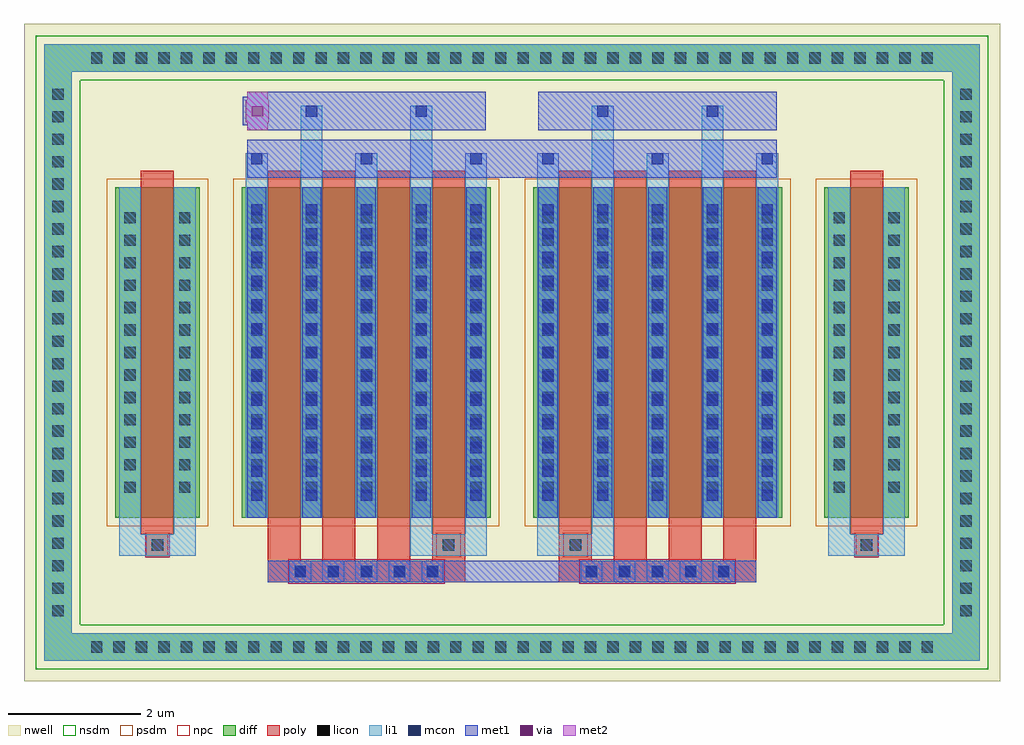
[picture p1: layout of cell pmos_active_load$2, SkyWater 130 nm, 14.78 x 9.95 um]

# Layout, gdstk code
import gdstk
lib = gdstk.Library(unit=1e-6, precision=5e-09)
def R(c, l, rs):  # rectangles x0, y0, x1, y1
    for r in rs: c.add(gdstk.rectangle(r[:2], r[2:], *l))
def A(c, l, x, y, w, h, nx, ny, dx, dy):  # array of equal rectangles
    R(c, l, [(x+i*dx, y+j*dy, x+i*dx+w, y+j*dy+h) for i in range(nx) for j in range(ny)])
def P(c, l, *ps):  # polygons
    for p in ps: c.add(gdstk.Polygon(p, *l))
nwell = (64, 20)
diff = (65, 20)
poly = (66, 20)
licon = (66, 44)
li1 = (67, 20)
mcon = (67, 44)
met1 = (68, 20)
via = (68, 44)
met2 = (69, 20)
nsdm = (93, 44)
psdm = (94, 20)
npc = (95, 20)

multiplier_cfbeef05 = lib.new_cell('multiplier_cfbeef05')
R(multiplier_cfbeef05, diff, [(-3.805,-2.5,-2.525,2.5), (-1.885,-2.5,1.885,2.5), (2.525,-2.5,3.805,2.5)])
A(multiplier_cfbeef05, poly, -1.165, -3.48, 0.33, 0.33, 5, 1, 0.5, 0)
A(multiplier_cfbeef05, poly, -1.495, -3.15, 0.5, 0.4, 4, 1, 0.83, 0)
A(multiplier_cfbeef05, poly, -1.495, -2.75, 0.5, 5.5, 4, 1, 0.83, 0)
R(multiplier_cfbeef05, poly, [(-1.495,-3.48,1.495,-3.15), (-3.33,-3.08,-3,-2.75), (-3.33,-3.08,-3,-2.75), (3,-3.08,3.33,-2.75), (3,-3.08,3.33,-2.75), (-3.415,-2.75,-2.915,2.75), (2.915,-2.75,3.415,2.75)])
A(multiplier_cfbeef05, licon, -1.085, -3.4, 0.17, 0.17, 5, 1, 0.5, 0)
A(multiplier_cfbeef05, licon, -3.665, -2.125, 0.17, 0.17, 1, 13, 0, 0.34)
A(multiplier_cfbeef05, licon, -2.835, -2.125, 0.17, 0.17, 1, 13, 0, 0.34)
A(multiplier_cfbeef05, licon, -1.745, -2.125, 0.17, 0.17, 5, 13, 0.83, 0.34)
A(multiplier_cfbeef05, licon, 2.665, -2.125, 0.17, 0.17, 1, 13, 0, 0.34)
A(multiplier_cfbeef05, licon, 3.495, -2.125, 0.17, 0.17, 1, 13, 0, 0.34)
R(multiplier_cfbeef05, licon, [(-3.25,-3,-3.08,-2.83), (3.08,-3,3.25,-2.83)])
A(multiplier_cfbeef05, li1, -1.165, -3.48, 0.33, 0.33, 5, 1, 0.5, 0)
A(multiplier_cfbeef05, li1, -1.825, -2.5, 0.33, 5, 5, 1, 0.83, 0)
A(multiplier_cfbeef05, li1, -1.745, -2.245, 0.17, 0.17, 5, 13, 0.83, 0.36)
A(multiplier_cfbeef05, li1, -1.745, -2.245, 0.17, 4.49, 5, 1, 0.83, 0)
A(multiplier_cfbeef05, li1, -3.745, -2.205, 0.33, 0.33, 1, 13, 0, 0.34)
A(multiplier_cfbeef05, li1, -2.915, -2.205, 0.33, 0.33, 1, 13, 0, 0.34)
A(multiplier_cfbeef05, li1, -1.825, -2.205, 0.33, 0.33, 5, 13, 0.83, 0.34)
A(multiplier_cfbeef05, li1, 2.585, -2.205, 0.33, 0.33, 1, 13, 0, 0.34)
A(multiplier_cfbeef05, li1, 3.415, -2.205, 0.33, 0.33, 1, 13, 0, 0.34)
A(multiplier_cfbeef05, li1, -1.825, 2.5, 0.33, 0.52, 3, 1, 1.66, 0)
A(multiplier_cfbeef05, li1, -1.745, 2.85, 0.17, 0.17, 3, 1, 1.66, 0)
R(multiplier_cfbeef05, li1, [(-3.745,-3.08,-3.33,-2.75), (-3.745,-3.08,-3.415,-2.5), (-3.33,-3.08,-3,-2.75), (-3,-3.08,-2.585,-2.75), (-2.915,-3.08,-2.585,-2.5), (2.585,-3.08,3,-2.75), (2.585,-3.08,2.915,-2.5), (3,-3.08,3.33,-2.75), (3.33,-3.08,3.745,-2.75), (3.415,-3.08,3.745,-2.5), (-3.745,-2.5,-3.415,2.5), (-2.915,-2.5,-2.585,2.5), (2.585,-2.5,2.915,2.5), (3.415,-2.5,3.745,2.5), (-0.995,2.5,-0.665,3.74), (0.665,2.5,0.995,3.74), (-0.915,3.57,-0.745,3.74), (0.745,3.57,0.915,3.74)])
A(multiplier_cfbeef05, mcon, -1.085, -3.4, 0.17, 0.17, 5, 1, 0.5, 0)
A(multiplier_cfbeef05, mcon, -1.745, -2.245, 0.17, 0.17, 5, 13, 0.83, 0.36)
A(multiplier_cfbeef05, mcon, -1.745, 2.85, 0.17, 0.17, 3, 1, 1.66, 0)
R(multiplier_cfbeef05, mcon, [(-0.915,3.57,-0.745,3.74), (0.745,3.57,0.915,3.74)])
A(multiplier_cfbeef05, met1, -1.145, -3.46, 0.29, 0.29, 5, 1, 0.5, 0)
A(multiplier_cfbeef05, met1, -1.805, -2.5, 0.29, 5, 5, 1, 0.83, 0)
A(multiplier_cfbeef05, met1, -1.805, -2.305, 0.29, 0.29, 5, 13, 0.83, 0.36)
A(multiplier_cfbeef05, met1, -1.805, 2.79, 0.29, 0.29, 3, 1, 1.66, 0)
R(multiplier_cfbeef05, met1, [(-1.495,-3.48,1.495,-3.15), (-1.805,2.645,1.805,3.225), (-1.805,3.365,1.805,3.945), (-0.975,3.51,-0.685,3.8), (0.685,3.51,0.975,3.8)])
R(multiplier_cfbeef05, psdm, [(-3.935,-2.63,-2.395,2.63), (-2.015,-2.63,2.015,2.63), (2.395,-2.63,3.935,2.63)])
A(multiplier_cfbeef05, npc, -1.185, -3.5, 0.37, 0.37, 5, 1, 0.5, 0)
R(multiplier_cfbeef05, npc, [(-1.185,-3.5,-0.315,-3.13), (-1.185,-3.5,-0.315,-3.13), (-0.685,-3.5,0.185,-3.13), (-0.685,-3.5,0.185,-3.13), (-0.185,-3.5,0.685,-3.13), (-0.185,-3.5,0.685,-3.13), (0.315,-3.5,1.185,-3.13), (0.315,-3.5,1.185,-3.13), (-3.35,-3.1,-2.98,-2.73), (2.98,-3.1,3.35,-2.73)])

multiplier_cfbeef05_1 = lib.new_cell('multiplier_cfbeef05$1')
R(multiplier_cfbeef05_1, diff, [(-3.805,-2.5,-2.525,2.5), (-1.885,-2.5,1.885,2.5), (2.525,-2.5,3.805,2.5)])
A(multiplier_cfbeef05_1, poly, -1.165, -3.48, 0.33, 0.33, 5, 1, 0.5, 0)
A(multiplier_cfbeef05_1, poly, -1.495, -3.15, 0.5, 0.4, 4, 1, 0.83, 0)
A(multiplier_cfbeef05_1, poly, -1.495, -2.75, 0.5, 5.5, 4, 1, 0.83, 0)
R(multiplier_cfbeef05_1, poly, [(-1.495,-3.48,1.495,-3.15), (-3.33,-3.08,-3,-2.75), (-3.33,-3.08,-3,-2.75), (3,-3.08,3.33,-2.75), (3,-3.08,3.33,-2.75), (-3.415,-2.75,-2.915,2.75), (2.915,-2.75,3.415,2.75)])
A(multiplier_cfbeef05_1, licon, -1.085, -3.4, 0.17, 0.17, 5, 1, 0.5, 0)
A(multiplier_cfbeef05_1, licon, -3.665, -2.125, 0.17, 0.17, 1, 13, 0, 0.34)
A(multiplier_cfbeef05_1, licon, -2.835, -2.125, 0.17, 0.17, 1, 13, 0, 0.34)
A(multiplier_cfbeef05_1, licon, -1.745, -2.125, 0.17, 0.17, 5, 13, 0.83, 0.34)
A(multiplier_cfbeef05_1, licon, 2.665, -2.125, 0.17, 0.17, 1, 13, 0, 0.34)
A(multiplier_cfbeef05_1, licon, 3.495, -2.125, 0.17, 0.17, 1, 13, 0, 0.34)
R(multiplier_cfbeef05_1, licon, [(-3.25,-3,-3.08,-2.83), (3.08,-3,3.25,-2.83)])
A(multiplier_cfbeef05_1, li1, -1.165, -3.48, 0.33, 0.33, 5, 1, 0.5, 0)
A(multiplier_cfbeef05_1, li1, -1.825, -2.5, 0.33, 5, 5, 1, 0.83, 0)
A(multiplier_cfbeef05_1, li1, -1.745, -2.245, 0.17, 0.17, 5, 13, 0.83, 0.36)
A(multiplier_cfbeef05_1, li1, -1.745, -2.245, 0.17, 4.49, 5, 1, 0.83, 0)
A(multiplier_cfbeef05_1, li1, -3.745, -2.205, 0.33, 0.33, 1, 13, 0, 0.34)
A(multiplier_cfbeef05_1, li1, -2.915, -2.205, 0.33, 0.33, 1, 13, 0, 0.34)
A(multiplier_cfbeef05_1, li1, -1.825, -2.205, 0.33, 0.33, 5, 13, 0.83, 0.34)
A(multiplier_cfbeef05_1, li1, 2.585, -2.205, 0.33, 0.33, 1, 13, 0, 0.34)
A(multiplier_cfbeef05_1, li1, 3.415, -2.205, 0.33, 0.33, 1, 13, 0, 0.34)
A(multiplier_cfbeef05_1, li1, -1.825, 2.5, 0.33, 0.52, 3, 1, 1.66, 0)
A(multiplier_cfbeef05_1, li1, -1.745, 2.85, 0.17, 0.17, 3, 1, 1.66, 0)
R(multiplier_cfbeef05_1, li1, [(-3.745,-3.08,-3.33,-2.75), (-3.745,-3.08,-3.415,-2.5), (-3.33,-3.08,-3,-2.75), (-3,-3.08,-2.585,-2.75), (-2.915,-3.08,-2.585,-2.5), (2.585,-3.08,3,-2.75), (2.585,-3.08,2.915,-2.5), (3,-3.08,3.33,-2.75), (3.33,-3.08,3.745,-2.75), (3.415,-3.08,3.745,-2.5), (-3.745,-2.5,-3.415,2.5), (-2.915,-2.5,-2.585,2.5), (2.585,-2.5,2.915,2.5), (3.415,-2.5,3.745,2.5), (-0.995,2.5,-0.665,3.74), (0.665,2.5,0.995,3.74), (-0.915,3.57,-0.745,3.74), (0.745,3.57,0.915,3.74)])
A(multiplier_cfbeef05_1, mcon, -1.085, -3.4, 0.17, 0.17, 5, 1, 0.5, 0)
A(multiplier_cfbeef05_1, mcon, -1.745, -2.245, 0.17, 0.17, 5, 13, 0.83, 0.36)
A(multiplier_cfbeef05_1, mcon, -1.745, 2.85, 0.17, 0.17, 3, 1, 1.66, 0)
R(multiplier_cfbeef05_1, mcon, [(-0.915,3.57,-0.745,3.74), (0.745,3.57,0.915,3.74)])
A(multiplier_cfbeef05_1, met1, -1.145, -3.46, 0.29, 0.29, 5, 1, 0.5, 0)
A(multiplier_cfbeef05_1, met1, -1.805, -2.5, 0.29, 5, 5, 1, 0.83, 0)
A(multiplier_cfbeef05_1, met1, -1.805, -2.305, 0.29, 0.29, 5, 13, 0.83, 0.36)
A(multiplier_cfbeef05_1, met1, -1.805, 2.79, 0.29, 0.29, 3, 1, 1.66, 0)
R(multiplier_cfbeef05_1, met1, [(-1.495,-3.48,1.495,-3.15), (-1.805,2.645,1.805,3.225), (-1.805,3.365,1.805,3.945), (-0.975,3.51,-0.685,3.8), (0.685,3.51,0.975,3.8)])
R(multiplier_cfbeef05_1, psdm, [(-3.935,-2.63,-2.395,2.63), (-2.015,-2.63,2.015,2.63), (2.395,-2.63,3.935,2.63)])
A(multiplier_cfbeef05_1, npc, -1.185, -3.5, 0.37, 0.37, 5, 1, 0.5, 0)
R(multiplier_cfbeef05_1, npc, [(-1.185,-3.5,-0.315,-3.13), (-1.185,-3.5,-0.315,-3.13), (-0.685,-3.5,0.185,-3.13), (-0.685,-3.5,0.185,-3.13), (-0.185,-3.5,0.685,-3.13), (-0.185,-3.5,0.685,-3.13), (0.315,-3.5,1.185,-3.13), (0.315,-3.5,1.185,-3.13), (-3.35,-3.1,-2.98,-2.73), (2.98,-3.1,3.35,-2.73)])

straight_route_e4c7dfd7 = lib.new_cell('straight_route_e4c7dfd7')
R(straight_route_e4c7dfd7, met1, [(-0.4,2.645,0.4,3.225)])

straight_route_42d416d2 = lib.new_cell('straight_route_42d416d2')
R(straight_route_42d416d2, met1, [(-0.71,-3.48,0.71,-3.15)])

straight_route_62834f2f = lib.new_cell('straight_route_62834f2f')
R(straight_route_62834f2f, met1, [(-4.08,3.44,-3.65,3.87), (-4.06,3.44,-3.63,3.87)])
R(straight_route_62834f2f, via, [(-3.94,3.58,-3.79,3.73), (-3.92,3.58,-3.77,3.73)])
R(straight_route_62834f2f, met2, [(-4.01,3.365,-3.7,3.945), (-4.03,3.49,-3.7,3.82), (-4.01,3.49,-3.68,3.82)])

unnamed_8b975264_1 = lib.new_cell('Unnamed_8b975264$1')
A(unnamed_8b975264_1, diff, -6.495, -4.665, 0.41, 0.41, 38, 2, 0.34, 8.92)
A(unnamed_8b975264_1, diff, -7.08, -4.115, 0.41, 0.41, 1, 24, 0, 0.34)
A(unnamed_8b975264_1, diff, 6.67, -4.115, 0.41, 0.41, 1, 24, 0, 0.34)
R(unnamed_8b975264_1, diff, [(-6.495,-4.665,6.495,-4.255), (-7.08,-4.115,-6.67,4.115), (6.67,-4.115,7.08,4.115), (-6.495,4.255,6.495,4.665)])
P(unnamed_8b975264_1, diff, [(7.08,4.665),(-7.08,4.665),(-7.08,-4.255),(-6.67,-4.255),(-6.67,4.255),(6.67,4.255),(6.67,-4.255),(-6.67,-4.255),(-7.08,-4.255),(-7.08,-4.665),(7.08,-4.665)])
A(unnamed_8b975264_1, licon, -6.375, -4.545, 0.17, 0.17, 38, 2, 0.34, 8.92)
A(unnamed_8b975264_1, licon, -6.96, -3.995, 0.17, 0.17, 1, 24, 0, 0.34)
A(unnamed_8b975264_1, licon, 6.79, -3.995, 0.17, 0.17, 1, 24, 0, 0.34)
A(unnamed_8b975264_1, li1, -6.455, -4.625, 0.33, 0.33, 38, 2, 0.34, 8.92)
A(unnamed_8b975264_1, li1, -7.04, -4.075, 0.33, 0.33, 1, 24, 0, 0.34)
A(unnamed_8b975264_1, li1, 6.71, -4.075, 0.33, 0.33, 1, 24, 0, 0.34)
R(unnamed_8b975264_1, li1, [(-7.08,-4.665,-6.67,-4.255), (-7.08,-4.665,-6.67,-4.255), (-6.67,-4.665,6.67,-4.255), (6.67,-4.665,7.08,-4.255), (6.67,-4.665,7.08,-4.255), (-7.08,-4.255,-6.67,4.255), (6.67,-4.255,7.08,4.255), (-7.08,4.255,-6.67,4.665), (-7.08,4.255,-6.67,4.665), (-6.67,4.255,6.67,4.665), (6.67,4.255,7.08,4.665), (6.67,4.255,7.08,4.665)])
P(unnamed_8b975264_1, nsdm, [(7.21,4.795),(-7.21,4.795),(-7.21,-4.125),(-6.54,-4.125),(-6.54,4.125),(6.54,4.125),(6.54,-4.125),(-6.54,-4.125),(-7.21,-4.125),(-7.21,-4.795),(7.21,-4.795)])

compass_afe0b709 = lib.new_cell('compass_afe0b709')
R(compass_afe0b709, nwell, [(-7.39,-4.975,7.39,4.975)])

rectangle_50fe9ae0 = lib.new_cell('rectangle_50fe9ae0')
rectangle_50fe9ae0.add(gdstk.Reference(compass_afe0b709, (0,0)))

pmos_active_load_2 = lib.new_cell('pmos_active_load$2')
pmos_active_load_2.add(gdstk.Reference(multiplier_cfbeef05, (-2.205,0)))
pmos_active_load_2.add(gdstk.Reference(multiplier_cfbeef05_1, (2.205,0)))
pmos_active_load_2.add(gdstk.Reference(straight_route_e4c7dfd7, (0,0)))
pmos_active_load_2.add(gdstk.Reference(straight_route_42d416d2, (0,0)))
pmos_active_load_2.add(gdstk.Reference(straight_route_62834f2f, (0,0)))
pmos_active_load_2.add(gdstk.Reference(unnamed_8b975264_1, (0,0)))
pmos_active_load_2.add(gdstk.Reference(rectangle_50fe9ae0, (0,0)))

lib.write_gds('pmos_active_load_2.gds')
